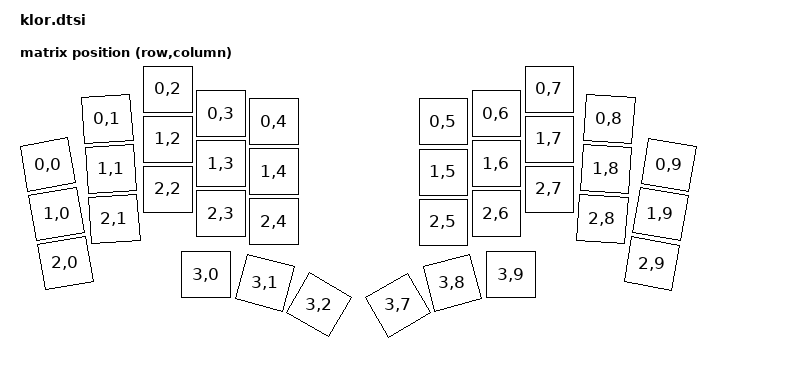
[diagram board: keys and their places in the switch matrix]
#include <dt-bindings/zmk/matrix_transform.h>
#include <physical_layouts.dtsi>

/ {
	chosen {
        zmk,kscan = &kscan0;
        zmk,physical-layout = &default_layout;

        left_encoder: encoder_left {
            compatible = "alps,ec11";
            label = "LEFT_ENCODER";
            steps = <24>;
            status = "disabled";
        };

        right_encoder: encoder_right {
            compatible = "alps,ec11";
            label = "RIGHT_ENCODER";
            steps = <24>;
            status = "disabled";
        };

        sensors {
            compatible = "zmk,keymap-sensors";
            sensors = <&left_encoder &right_encoder>;
            triggers-per-rotation = <6>;
        };
	};

	default_transform: keymap_transform_0 {
		compatible = "zmk,matrix-transform";
		columns = <10>;
		rows = <4>;
		map = <
        RC(0,0) RC(0,1) RC(0,2) RC(0,3) RC(0,4)         RC(0,5) RC(0,6) RC(0,7) RC(0,8) RC(0,9) 
        RC(1,0) RC(1,1) RC(1,2) RC(1,3) RC(1,4)         RC(1,5) RC(1,6) RC(1,7) RC(1,8) RC(1,9) 
        RC(2,0) RC(2,1) RC(2,2) RC(2,3) RC(2,4)         RC(2,5) RC(2,6) RC(2,7) RC(2,8) RC(2,9) 
                        RC(3,0) RC(3,1) RC(3,2)         RC(3,7) RC(3,8) RC(3,9)
		>;
	};

	kscan0: kscan {
		diode-direction = "col2row";
	};

    default_layout: default_layout {
        compatible = "zmk,physical-layout";
        display-name = "KLOR";

        transform = <&default_transform>;

        keys  //                     w   h    x    y     rot    rx    ry
            = <&key_physical_attrs 105 100    0  151 (-1000)    53   201>
            , <&key_physical_attrs 105 100  119   60  (-400)   172   110>
            , <&key_physical_attrs 105 100  240    0       0     0     0>
            , <&key_physical_attrs 105 100  346   49       0     0     0>
            , <&key_physical_attrs 105 100  452   65       0     0     0>
            , <&key_physical_attrs 105 100  791   65       0     0     0>
            , <&key_physical_attrs 105 100  897   49       0     0     0>
            , <&key_physical_attrs 105 100 1003    0       0     0     0>
            , <&key_physical_attrs 105 100 1123   60     400  1176   110>
            , <&key_physical_attrs 105 100 1242  152    1000  1295   202>
            , <&key_physical_attrs 105 100   18  250 (-1000)    70   300>
            , <&key_physical_attrs 105 100  126  160  (-400)   179   210>
            , <&key_physical_attrs 105 100  240  100       0     0     0>
            , <&key_physical_attrs 105 100  346  149       0     0     0>
            , <&key_physical_attrs 105 100  452  165       0     0     0>
            , <&key_physical_attrs 105 100  791  166       0     0     0>
            , <&key_physical_attrs 105 100  897  149       0     0     0>
            , <&key_physical_attrs 105 100 1003  100       0     0     0>
            , <&key_physical_attrs 105 100 1116  160     400  1169   210>
            , <&key_physical_attrs 105 100 1225  250    1000  1278   300>
            , <&key_physical_attrs 105 100   35  348 (-1000)    88   398>
            , <&key_physical_attrs 105 100  133  260  (-400)   186   310>
            , <&key_physical_attrs 105 100  240  200       0     0     0>
            , <&key_physical_attrs 105 100  346  249       0     0     0>
            , <&key_physical_attrs 105 100  452  265       0     0     0>
            , <&key_physical_attrs 105 100  791  266       0     0     0>
            , <&key_physical_attrs 105 100  897  249       0     0     0>
            , <&key_physical_attrs 105 100 1003  200       0     0     0>
            , <&key_physical_attrs 105 100 1109  260     400  1162   310>
            , <&key_physical_attrs 105 100 1208  349    1000  1261   399>
            , <&key_physical_attrs 105 100  316  371       0     0     0>
            , <&key_physical_attrs 105 100  434  387    1500   486   437>
            , <&key_physical_attrs 105 100  542  432    3000   595   482>
            , <&key_physical_attrs 105 100  701  432 (-3000)   754   482>
            , <&key_physical_attrs 105 100  809  387 (-1500)   862   437>
            , <&key_physical_attrs 105 100  926  371       0     0     0>
            ;
    };
};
